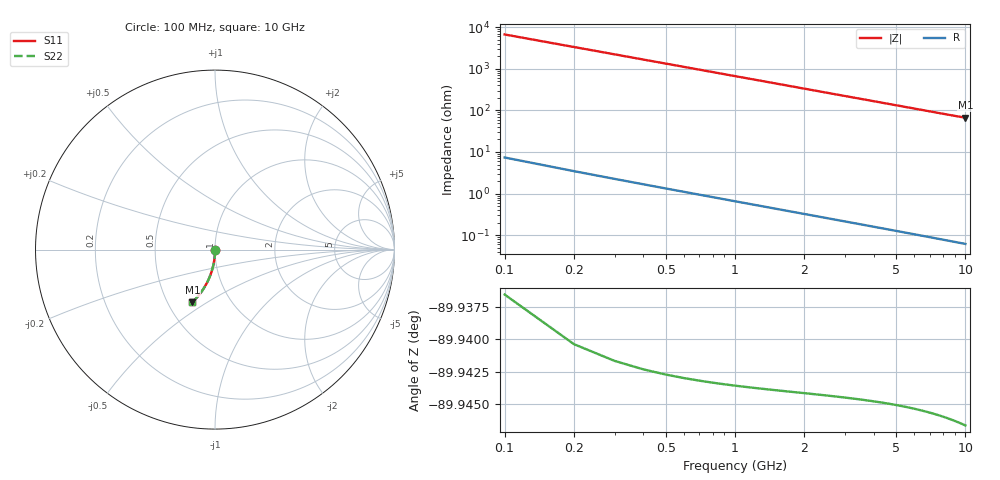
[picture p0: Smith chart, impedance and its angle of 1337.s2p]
# Hz S RI R 50.00
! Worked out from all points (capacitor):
!   100 points, 100 MHz to 10 GHz, reference 50 ohm
!   read as one part in shunt: C = 239 fF near 100 MHz
!   lowest |Z| = 66.4 ohm at 10 GHz (marker M1)
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1e8  0.000108 -0.00336  0.9999 -0.00415  0.9999 -0.00415  0.000108 -0.00336
2e8  6.35e-05 -0.00671  0.9998 -0.00831  0.9998 -0.00831  6.35e-05 -0.00671
3e8  -9.16e-06 -0.0101  0.9997 -0.0125  0.9997 -0.0125  -9.16e-06 -0.0101
4e8  -0.00011 -0.0134  0.9996 -0.0166  0.9996 -0.0166  -0.00011 -0.0134
5e8  -0.000238 -0.0168  0.9995 -0.0208  0.9995 -0.0208  -0.000238 -0.0168
6e8  -0.000395 -0.0201  0.9993 -0.0249  0.9993 -0.0249  -0.000395 -0.0201
7e8  -0.000579 -0.0235  0.9991 -0.0291  0.9991 -0.0291  -0.000579 -0.0235
8e8  -0.000792 -0.0268  0.9989 -0.0332  0.9989 -0.0332  -0.000792 -0.0268
9e8  -0.00103 -0.0302  0.9987 -0.0374  0.9987 -0.0374  -0.00103 -0.0302
1.1e9  -0.0016 -0.0369  0.9981 -0.0456  0.9981 -0.0456  -0.0016 -0.0369
1.4e9  -0.00265 -0.0469  0.997 -0.058  0.997 -0.058  -0.00265 -0.0469
1.8e9  -0.00444 -0.0602  0.9952 -0.0745  0.9952 -0.0745  -0.00444 -0.0602
2.1e9  -0.00607 -0.0701  0.9935 -0.0869  0.9935 -0.0869  -0.00607 -0.0701
2.5e9  -0.00863 -0.0833  0.9909 -0.1032  0.9909 -0.1032  -0.00863 -0.0833
2.9e9  -0.0116 -0.0963  0.9878 -0.1195  0.9878 -0.1195  -0.0116 -0.0963
3.4e9  -0.016 -0.1125  0.9834 -0.1397  0.9834 -0.1397  -0.016 -0.1125
4.2e9  -0.0242 -0.1378  0.9749 -0.1714  0.9749 -0.1714  -0.0242 -0.1378
5.1e9  -0.0355 -0.1654  0.9634 -0.2063  0.9634 -0.2063  -0.0355 -0.1654
5.9e9  -0.0471 -0.1891  0.9515 -0.2365  0.9515 -0.2365  -0.0471 -0.1891
6.7e9  -0.06 -0.2117  0.9382 -0.2656  0.9382 -0.2656  -0.06 -0.2117
8.4e9  -0.0918 -0.2562  0.9056 -0.324  0.9056 -0.324  -0.0918 -0.2562
1e10  -0.126 -0.2928  0.8704 -0.3739  0.8704 -0.3739  -0.126 -0.2928
